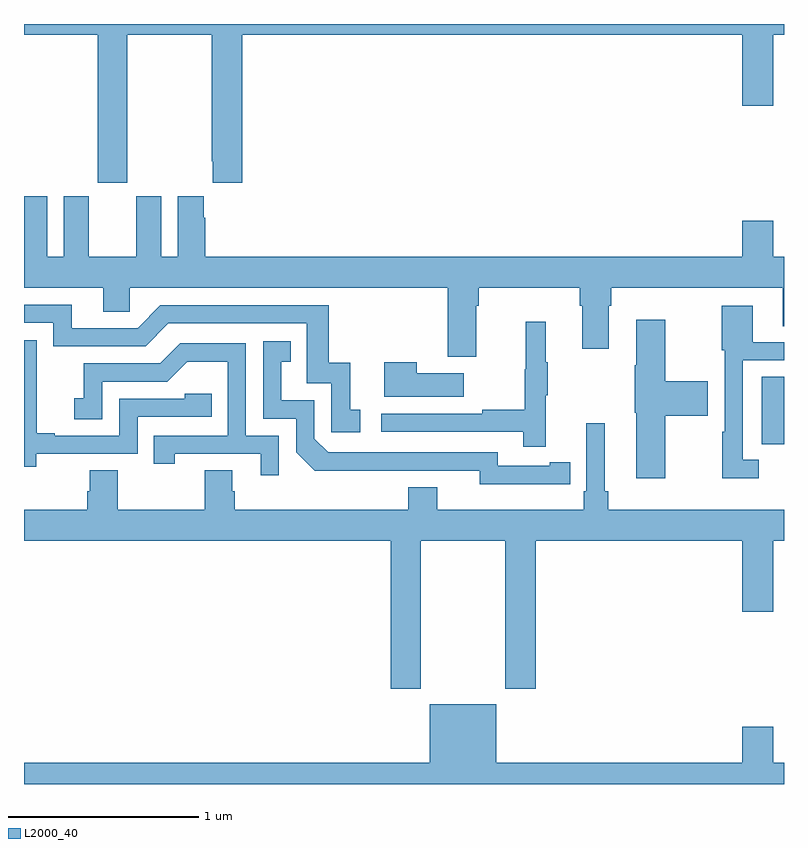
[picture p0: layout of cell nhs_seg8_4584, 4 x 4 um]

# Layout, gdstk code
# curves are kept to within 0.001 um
import gdstk
lib = gdstk.Library(unit=1e-6, precision=1e-09)
def R(c, l, rs):  # rectangles x0, y0, x1, y1
    for r in rs: c.add(gdstk.rectangle(r[:2], r[2:], *l))
def P(c, l, *ps):  # polygons
    for p in ps: c.add(gdstk.Polygon(p, *l))
L2000_40 = (2000, 40)

nhs_seg8_4584 = lib.new_cell('nhs_seg8_4584')
R(nhs_seg8_4584, L2000_40, [(392.882,1103.688,393,1104.044)])
P(nhs_seg8_4584, L2000_40, [(389.544,1105.844),(389.989,1105.844),(389.989,1105.177),(389.993,1105.177),(389.993,1105.065),(390.149,1105.065),(390.149,1105.844),(392.78,1105.844),(392.78,1105.47),(392.944,1105.47),(392.944,1105.844),(393,1105.844),(393,1105.9),(389,1105.9),(389,1105.844),(389.389,1105.844),(389.389,1105.065),(389.544,1105.065)],
  [(391.381,1104.416),(391.394,1104.416),(391.394,1104.512),(391.925,1104.512),(391.925,1104.416),(391.937,1104.416),(391.937,1104.192),(392.077,1104.192),(392.077,1104.416),(392.09,1104.416),(392.09,1104.512),(392.993,1104.512),(392.993,1104.31),(393,1104.31),(393,1104.676),(392.944,1104.676),(392.944,1104.865),(392.78,1104.865),(392.78,1104.676),(389.954,1104.676),(389.954,1104.881),(389.947,1104.881),(389.947,1104.994),(389.81,1104.994),(389.81,1104.676),(389.722,1104.676),(389.722,1104.994),(389.591,1104.994),(389.591,1104.676),(389.341,1104.676),(389.341,1104.994),(389.21,1104.994),(389.21,1104.676),(389.122,1104.676),(389.122,1104.994),(389,1104.994),(389,1104.512),(389.417,1104.512),(389.417,1104.385),(389.556,1104.385),(389.556,1104.512),(391.229,1104.512),(391.229,1104.15),(391.381,1104.15)],
  [(390.769,1103.871),(390.716,1103.871),(390.716,1104.118),(390.605,1104.118),(390.605,1104.42),(389.718,1104.42),(389.598,1104.3),(389.251,1104.3),(389.251,1104.423),(389,1104.423),(389,1104.327),(389.154,1104.327),(389.154,1104.204),(389.64,1104.204),(389.76,1104.324),(390.489,1104.324),(390.489,1104.009),(390.618,1104.009),(390.618,1103.751),(390.769,1103.751)],
  [(392.866,1103.607),(392.784,1103.607),(392.784,1104.129),(393,1104.129),(393,1104.225),(392.836,1104.225),(392.836,1104.418),(392.672,1104.418),(392.672,1104.182),(392.688,1104.182),(392.688,1103.753),(392.676,1103.753),(392.676,1103.51),(392.866,1103.51)],
  [(392.376,1103.837),(392.599,1103.837),(392.599,1104.02),(392.376,1104.02),(392.376,1104.343),(392.222,1104.343),(392.222,1104.103),(392.215,1104.103),(392.215,1103.853),(392.222,1103.853),(392.222,1103.508),(392.376,1103.508)],
  [(391.745,1103.947),(391.756,1103.947),(391.756,1104.121),(391.745,1104.121),(391.745,1104.334),(391.642,1104.334),(391.642,1104.084),(391.635,1104.084),(391.635,1103.87),(391.411,1103.87),(391.411,1103.85),(390.879,1103.85),(390.879,1103.754),(391.627,1103.754),(391.627,1103.676),(391.745,1103.676)],
  [(389.064,1103.637),(389.598,1103.637),(389.598,1103.832),(389.987,1103.832),(389.987,1103.955),(389.847,1103.955),(389.847,1103.928),(389.502,1103.928),(389.502,1103.733),(389.161,1103.733),(389.161,1103.746),(389.066,1103.746),(389.066,1104.029),(389.067,1104.029),(389.067,1104.235),(389,1104.235),(389,1103.569),(389.064,1103.569)],
  [(391.766,1103.478),(391.874,1103.478),(391.874,1103.594),(391.766,1103.594),(391.766,1103.574),(391.494,1103.574),(391.494,1103.646),(390.6,1103.646),(390.528,1103.718),(390.528,1103.919),(390.355,1103.919),(390.355,1104.123),(390.404,1104.123),(390.404,1104.229),(390.258,1104.229),(390.258,1103.823),(390.432,1103.823),(390.432,1103.646),(390.53,1103.549),(391.398,1103.55),(391.398,1103.477)],
  [(390.342,1103.733),(390.168,1103.733),(390.168,1104.219),(389.822,1104.219),(389.717,1104.114),(389.314,1104.114),(389.314,1103.929),(389.265,1103.929),(389.265,1103.82),(389.412,1103.82),(389.412,1104.018),(389.754,1104.018),(389.858,1104.122),(390.072,1104.122),(390.072,1103.733),(389.683,1103.733),(389.683,1103.586),(389.794,1103.586),(389.794,1103.637),(390.245,1103.637),(390.245,1103.526),(390.342,1103.526)],
  [(391.315,1104.061),(391.067,1104.061),(391.067,1104.121),(390.896,1104.121),(390.896,1103.939),(391.315,1103.939)],
  [(391.089,1103.18),(391.534,1103.18),(391.534,1102.401),(391.694,1102.401),(391.694,1103.18),(392.78,1103.18),(392.78,1102.806),(392.944,1102.806),(392.944,1103.18),(393,1103.18),(393,1103.344),(392.075,1103.344),(392.075,1103.44),(392.056,1103.44),(392.056,1103.8),(391.959,1103.8),(391.959,1103.44),(391.946,1103.44),(391.946,1103.344),(391.174,1103.344),(391.174,1103.461),(391.022,1103.461),(391.022,1103.344),(390.11,1103.344),(390.11,1103.442),(390.097,1103.442),(390.097,1103.552),(389.95,1103.552),(389.95,1103.344),(389.493,1103.344),(389.493,1103.552),(389.345,1103.552),(389.345,1103.442),(389.333,1103.442),(389.333,1103.344),(389,1103.344),(389,1103.18),(390.929,1103.18),(390.929,1102.401),(391.089,1102.401)],
  [(393,1102.012),(392.944,1102.012),(392.944,1102.201),(392.78,1102.201),(392.78,1102.012),(391.486,1102.012),(391.486,1102.321),(391.136,1102.321),(391.136,1102.012),(389,1102.012),(389,1101.9),(393,1101.9)])

lib.write_gds('nhs_seg8_4584.gds')
